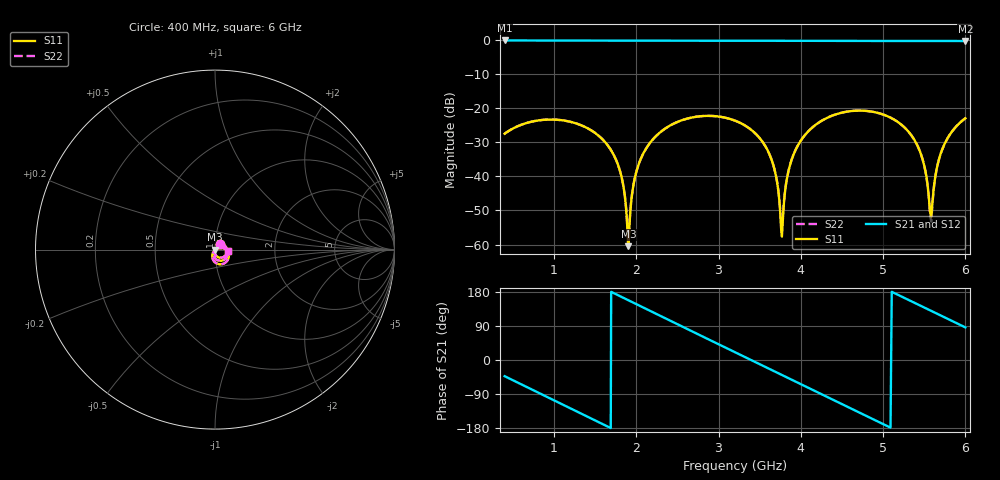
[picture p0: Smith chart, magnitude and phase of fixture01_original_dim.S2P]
!Generated from: D:\Work\cadence_lib\blocks_symbols\fixture01.spd
! Port1::OUT
! Port2::OUT
!PowerSI Version: 16.0.0.02091.0  000
!Computer Host Name: DESKTOP-JQNU4CJ
!TouchstoneFormatFlag = 1
! GNDNET GND
! NETSLIST
!ENCODED_BEGIN
!0889B71221DAF54192BECE6985861F1178E3CF1522971D6992DC39A223786694703D55A53EC5558E184E2ACE
!ENCODED_END
#	Hz	S	MA	R	50
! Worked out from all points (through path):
!   718 points, 400 MHz to 6 GHz, reference 50 ohm
!   highest |S21| = -0.04 dB at 400 MHz (marker M1); lowest = -0.2 dB at 6 GHz (marker M2)
!   group delay of S21, straight-line fit = 294 ps
!   lowest |S11| = -60.5 dB at 1.905 GHz (marker M3), VSWR 1.00, Z = 50.1 - j0.0242 ohm
!   |S11| at or under -10 dB: start of sweep to end of sweep
!   |S22| runs from -58.2 to -20.7 dB; largest |S21 - S12| = 0
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4e8  0.04247 43.9  0.9954 -42.7  0.9954 -42.7  0.04247 43.9
8.65e8  0.06779 -4.0  0.9921 -92.1  0.9921 -92.1  0.06778 -3.9
1.335e9  0.05624 -52.7  0.9912 -141.9  0.9912 -141.9  0.05624 -52.6
1.755e9  0.01745 -94.6  0.9912 173.5  0.9912 173.5  0.01747 -93.8
1.845e9  0.007056 -99.6  0.991 163.9  0.991 163.9  0.007094 -97.3
1.905e9  0.000946 -14.8  0.9908 157.5  0.9908 157.5  0.001233 -16.6
1.95e9  0.00562 52.2  0.9907 152.7  0.9907 152.7  0.005681 49.3
2e9  0.01158 51.9  0.9904 147.4  0.9904 147.4  0.01162 50.4
2.27e9  0.04238 26.9  0.9888 118.8  0.9888 118.8  0.04239 26.5
2.71e9  0.07474 -18.6  0.9856 72.2  0.9856 72.2  0.07475 -18.6
3.2e9  0.06607 -69.4  0.9849 20.5  0.9849 20.5  0.06608 -69.1
3.6e9  0.02369 -109.3  0.9855 -21.8  0.9855 -21.8  0.02372 -107.9
3.69e9  0.01129 -115.3  0.9855 -31.3  0.9855 -31.3  0.01136 -112.4
3.77e9  0.00131 -27.8  0.9853 -39.8  0.9853 -39.8  0.001892 -31.5
3.89e9  0.01786 33.1  0.9848 -52.5  0.9848 -52.5  0.01792 31.3
4.14e9  0.05244 9.6  0.9829 -78.9  0.9829 -78.9  0.05245 9.2
4.56e9  0.08957 -33.5  0.979 -123.0  0.979 -123.0  0.08958 -33.5
5.075e9  0.07467 -86.3  0.9787 -176.9  0.9787 -176.9  0.07468 -86.0
5.405e9  0.03038 -117.9  0.9799 148.5  0.9799 148.5  0.03036 -117.8
5.585e9  0.002535 -32.4  0.9798 129.5  0.9798 129.5  0.002169 -28.3
5.735e9  0.02789 18.2  0.9789 113.8  0.9789 113.8  0.02786 20.0
6e9  0.07167 -6.3  0.9759 86.0  0.9759 86.0  0.07167 -4.7
